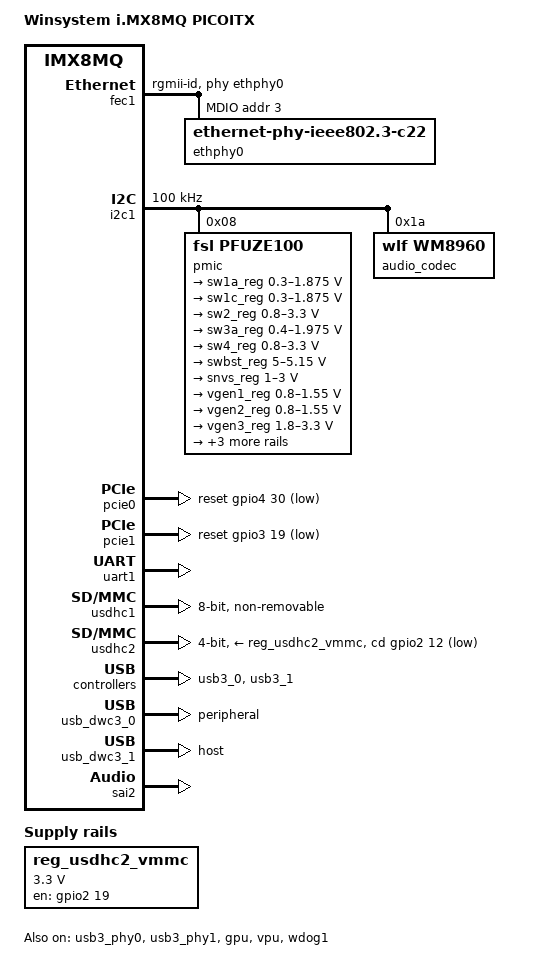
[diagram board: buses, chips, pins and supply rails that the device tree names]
/*
 * Copyright (C) 2016 Freescale Semiconductor, Inc.
 * Copyright 2017 NXP
 *
 * This program is free software; you can redistribute it and/or
 * modify it under the terms of the GNU General Public License
 * as published by the Free Software Foundation; either version 2
 * of the License, or (at your option) any later version.
 *
 * This program is distributed in the hope that it will be useful,
 * but WITHOUT ANY WARRANTY; without even the implied warranty of
 * MERCHANTABILITY or FITNESS FOR A PARTICULAR PURPOSE.  See the
 * GNU General Public License for more details.
 */

/dts-v1/;

/* First 128KB is for PSCI ATF. */
/memreserve/ 0x40000000 0x00020000;

#include "fsl-imx8mq.dtsi"

/ {
	model = "Winsystem i.MX8MQ PICOITX";
	compatible = "fsl,imx8mq";

	dbg_console_settings: chosen {
		bootargs = "console=ttymxc0,115200 earlycon=ec_imx6q,0x30860000,115200";
		stdout-path = &uart1;
	};

	regulators {
		compatible = "simple-bus";
		#address-cells = <1>;
		#size-cells = <0>;

		reg_usdhc2_vmmc: usdhc2_vmmc {
			compatible = "regulator-fixed";
			regulator-name = "VSD_3V3";
			regulator-min-microvolt = <3300000>;
			regulator-max-microvolt = <3300000>;
			gpio = <&gpio2 19 GPIO_ACTIVE_HIGH>;
			enable-active-high;
		};
	};

	sound_wm8960: sound-wm8960 {
		compatible = "fsl,imx-audio-wm8960";
		model = "wm8960-audio";
		cpu-dai = <&sai2>;
		audio-codec = <&audio_codec>;
		codec-master;
		audio-routing =
			"Headphone Jack", "HP_L",
			"Headphone Jack", "HP_R",
			"Ext Spk", "SPK_LP",
			"Ext Spk", "SPK_LN",
			"Ext Spk", "SPK_RP",
			"Ext Spk", "SPK_RN",
			"RINPUT3", "Mic Jack",
			"LINPUT3", "Mic Jack",
			"RINPUT2", "Main MIC",
			"LINPUT2", "Main MIC",
			"Mic Jack", "MICB",
			"Main MIC", "MICB";
	};
};

&iomuxc {
	pinctrl-names = "default";

	imx8mq-evk {
		pinctrl_pmic: pmicgrp {
			fsl,pins = <
				MX8MQ_IOMUXC_SAI1_MCLK_GPIO4_IO20	0x19
			>;
		};

		pinctrl_fec1: fec1grp {
			fsl,pins = <
				MX8MQ_IOMUXC_ENET_MDC_ENET1_MDC		0x3
				MX8MQ_IOMUXC_ENET_MDIO_ENET1_MDIO	0x23
				MX8MQ_IOMUXC_ENET_TD3_ENET1_RGMII_TD3	0x1f
				MX8MQ_IOMUXC_ENET_TD2_ENET1_RGMII_TD2	0x1f
				MX8MQ_IOMUXC_ENET_TD1_ENET1_RGMII_TD1	0x1f
				MX8MQ_IOMUXC_ENET_TD0_ENET1_RGMII_TD0	0x1f
				MX8MQ_IOMUXC_ENET_RD3_ENET1_RGMII_RD3	0x91
				MX8MQ_IOMUXC_ENET_RD2_ENET1_RGMII_RD2	0x91
				MX8MQ_IOMUXC_ENET_RD1_ENET1_RGMII_RD1	0x91
				MX8MQ_IOMUXC_ENET_RD0_ENET1_RGMII_RD0	0x91
				MX8MQ_IOMUXC_ENET_TXC_ENET1_RGMII_TXC	0x1f
				MX8MQ_IOMUXC_ENET_RXC_ENET1_RGMII_RXC	0x91
				MX8MQ_IOMUXC_ENET_RX_CTL_ENET1_RGMII_RX_CTL 0x91
				MX8MQ_IOMUXC_ENET_TX_CTL_ENET1_RGMII_TX_CTL 0x1f
				MX8MQ_IOMUXC_SAI1_RXFS_GPIO4_IO0	0x19
				MX8MQ_IOMUXC_SAI1_RXC_GPIO4_IO1		0x19
			>;
		};

		pinctrl_i2c1: i2c1grp {
			fsl,pins = <
				MX8MQ_IOMUXC_I2C1_SCL_I2C1_SCL	0x4000007f
				MX8MQ_IOMUXC_I2C1_SDA_I2C1_SDA	0x4000007f
			>;
		};

		pinctrl_i2c2: i2c2grp {
			fsl,pins = <
				MX8MQ_IOMUXC_I2C2_SCL_I2C2_SCL	0x4000007f
				MX8MQ_IOMUXC_I2C2_SDA_I2C2_SDA	0x4000007f
			>;
		};

		pinctrl_pcie0: pcie0grp {
			fsl,pins = <
				MX8MQ_IOMUXC_I2C4_SCL_GPIO5_IO20	0x16
				MX8MQ_IOMUXC_SAI3_RXC_GPIO4_IO29	0x16
				MX8MQ_IOMUXC_SAI3_RXD_GPIO4_IO30	0x16
				/* SMB_ALERT_N */
				MX8MQ_IOMUXC_SAI3_TXD_GPIO5_IO1		0x16
			>;
		};

		pinctrl_pcie1: pcie1grp {
			fsl,pins = <
				MX8MQ_IOMUXC_I2C4_SDA_GPIO5_IO21	0x16
				MX8MQ_IOMUXC_SAI3_TXC_GPIO5_IO0		0x16
				MX8MQ_IOMUXC_SAI5_RXFS_GPIO3_IO19	0x16
				/* MPCIE_WAKE */
				MX8MQ_IOMUXC_SAI1_TXFS_GPIO4_IO10	0x16
			>;
		};

		pinctrl_uart1: uart1grp {
			fsl,pins = <
				MX8MQ_IOMUXC_UART1_RXD_UART1_DCE_RX	0x49
				MX8MQ_IOMUXC_UART1_TXD_UART1_DCE_TX	0x49
			>;
		};

		pinctrl_serial2_gpio: serial2grpgpio {
			fsl,pins = <
				MX8MQ_IOMUXC_NAND_DATA07_GPIO3_IO13	0x59
				MX8MQ_IOMUXC_NAND_DATA06_GPIO3_IO12	0x19
				MX8MQ_IOMUXC_NAND_DATA05_GPIO3_IO11	0x19
				MX8MQ_IOMUXC_NAND_DATA04_GPIO3_IO10	0x19
				MX8MQ_IOMUXC_NAND_DATA03_GPIO3_IO9	0x19
				MX8MQ_IOMUXC_NAND_DATA02_GPIO3_IO8	0x19
				MX8MQ_IOMUXC_NAND_DATA01_GPIO3_IO7	0x19
			>;
		};

		pinctrl_usdhc1: usdhc1grp {
			fsl,pins = <
				MX8MQ_IOMUXC_SD1_CLK_USDHC1_CLK		0x83
				MX8MQ_IOMUXC_SD1_CMD_USDHC1_CMD		0xc3
				MX8MQ_IOMUXC_SD1_DATA0_USDHC1_DATA0	0xc3
				MX8MQ_IOMUXC_SD1_DATA1_USDHC1_DATA1	0xc3
				MX8MQ_IOMUXC_SD1_DATA2_USDHC1_DATA2	0xc3
				MX8MQ_IOMUXC_SD1_DATA3_USDHC1_DATA3	0xc3
				MX8MQ_IOMUXC_SD1_DATA4_USDHC1_DATA4	0xc3
				MX8MQ_IOMUXC_SD1_DATA5_USDHC1_DATA5	0xc3
				MX8MQ_IOMUXC_SD1_DATA6_USDHC1_DATA6	0xc3
				MX8MQ_IOMUXC_SD1_DATA7_USDHC1_DATA7	0xc3
				MX8MQ_IOMUXC_SD1_STROBE_USDHC1_STROBE	0x83
				MX8MQ_IOMUXC_SD1_RESET_B_USDHC1_RESET_B	0xc1
			>;
		};

		pinctrl_usdhc1_100mhz: usdhc1grp100mhz {
			fsl,pins = <
				MX8MQ_IOMUXC_SD1_CLK_USDHC1_CLK		0x85
				MX8MQ_IOMUXC_SD1_CMD_USDHC1_CMD		0xc5
				MX8MQ_IOMUXC_SD1_DATA0_USDHC1_DATA0	0xc5
				MX8MQ_IOMUXC_SD1_DATA1_USDHC1_DATA1	0xc5
				MX8MQ_IOMUXC_SD1_DATA2_USDHC1_DATA2	0xc5
				MX8MQ_IOMUXC_SD1_DATA3_USDHC1_DATA3	0xc5
				MX8MQ_IOMUXC_SD1_DATA4_USDHC1_DATA4	0xc5
				MX8MQ_IOMUXC_SD1_DATA5_USDHC1_DATA5	0xc5
				MX8MQ_IOMUXC_SD1_DATA6_USDHC1_DATA6	0xc5
				MX8MQ_IOMUXC_SD1_DATA7_USDHC1_DATA7	0xc5
				MX8MQ_IOMUXC_SD1_STROBE_USDHC1_STROBE	0x85
				MX8MQ_IOMUXC_SD1_RESET_B_USDHC1_RESET_B	0xc1
			>;
		};

		pinctrl_usdhc1_200mhz: usdhc1grp200mhz {
			fsl,pins = <
				MX8MQ_IOMUXC_SD1_CLK_USDHC1_CLK		0x87
				MX8MQ_IOMUXC_SD1_CMD_USDHC1_CMD		0xc7
				MX8MQ_IOMUXC_SD1_DATA0_USDHC1_DATA0	0xc7
				MX8MQ_IOMUXC_SD1_DATA1_USDHC1_DATA1	0xc7
				MX8MQ_IOMUXC_SD1_DATA2_USDHC1_DATA2	0xc7
				MX8MQ_IOMUXC_SD1_DATA3_USDHC1_DATA3	0xc7
				MX8MQ_IOMUXC_SD1_DATA4_USDHC1_DATA4	0xc7
				MX8MQ_IOMUXC_SD1_DATA5_USDHC1_DATA5	0xc7
				MX8MQ_IOMUXC_SD1_DATA6_USDHC1_DATA6	0xc7
				MX8MQ_IOMUXC_SD1_DATA7_USDHC1_DATA7	0xc7
				MX8MQ_IOMUXC_SD1_STROBE_USDHC1_STROBE	0x87
				MX8MQ_IOMUXC_SD1_RESET_B_USDHC1_RESET_B	0xc1
			>;
		};

		pinctrl_usdhc2_gpio: usdhc2grpgpio {
			fsl,pins = <
				MX8MQ_IOMUXC_SD2_CD_B_GPIO2_IO12	0x41
				MX8MQ_IOMUXC_SD2_RESET_B_GPIO2_IO19	0x41
			>;
		};

		pinctrl_usdhc2: usdhc2grp {
			fsl,pins = <
				MX8MQ_IOMUXC_SD2_CLK_USDHC2_CLK		0x83
				MX8MQ_IOMUXC_SD2_CMD_USDHC2_CMD		0xc3
				MX8MQ_IOMUXC_SD2_DATA0_USDHC2_DATA0	0xc3
				MX8MQ_IOMUXC_SD2_DATA1_USDHC2_DATA1	0xc3
				MX8MQ_IOMUXC_SD2_DATA2_USDHC2_DATA2	0xc3
				MX8MQ_IOMUXC_SD2_DATA3_USDHC2_DATA3	0xc3
				MX8MQ_IOMUXC_GPIO1_IO04_USDHC2_VSELECT	0xc1
			>;
		};

		pinctrl_usdhc2_100mhz: usdhc2grp100mhz {
			fsl,pins = <
				MX8MQ_IOMUXC_SD2_CLK_USDHC2_CLK		0x85
				MX8MQ_IOMUXC_SD2_CMD_USDHC2_CMD		0xc5
				MX8MQ_IOMUXC_SD2_DATA0_USDHC2_DATA0	0xc5
				MX8MQ_IOMUXC_SD2_DATA1_USDHC2_DATA1	0xc5
				MX8MQ_IOMUXC_SD2_DATA2_USDHC2_DATA2	0xc5
				MX8MQ_IOMUXC_SD2_DATA3_USDHC2_DATA3	0xc5
				MX8MQ_IOMUXC_GPIO1_IO04_USDHC2_VSELECT	0xc1
			>;
		};

		pinctrl_usdhc2_200mhz: usdhc2grp200mhz {
			fsl,pins = <
				MX8MQ_IOMUXC_SD2_CLK_USDHC2_CLK		0x87
				MX8MQ_IOMUXC_SD2_CMD_USDHC2_CMD		0xc7
				MX8MQ_IOMUXC_SD2_DATA0_USDHC2_DATA0	0xc7
				MX8MQ_IOMUXC_SD2_DATA1_USDHC2_DATA1	0xc7
				MX8MQ_IOMUXC_SD2_DATA2_USDHC2_DATA2	0xc7
				MX8MQ_IOMUXC_SD2_DATA3_USDHC2_DATA3	0xc7
				MX8MQ_IOMUXC_GPIO1_IO04_USDHC2_VSELECT	0xc1
			>;
		};

		pinctrl_sai2: sai2grp {
			fsl,pins = <
				MX8MQ_IOMUXC_SAI2_TXFS_SAI2_TX_SYNC	0xd6
				MX8MQ_IOMUXC_SAI2_TXC_SAI2_TX_BCLK	0xd6
				MX8MQ_IOMUXC_SAI2_MCLK_SAI2_MCLK	0xd6
				MX8MQ_IOMUXC_SAI2_TXD0_SAI2_TX_DATA0	0xd6
				MX8MQ_IOMUXC_SAI2_RXD0_SAI2_RX_DATA0	0xd6
				MX8MQ_IOMUXC_SAI2_RXFS_SAI2_RX_SYNC	0xd6
			>;
		};

		pinctrl_wdog: wdoggrp {
			fsl,pins = <
				MX8MQ_IOMUXC_GPIO1_IO02_WDOG1_WDOG_B 0xc6
			>;
		};
	};
};

&fec1 {
	pinctrl-names = "default";
	pinctrl-0 = <&pinctrl_fec1>;
	phy-mode = "rgmii-id";
	phy-handle = <&ethphy0>;
	fsl,magic-packet;
	status = "okay";

	mdio {
		#address-cells = <1>;
		#size-cells = <0>;

		ethphy0: ethernet-phy@3 {
			compatible = "ethernet-phy-ieee802.3-c22";
			reg = <3>;
		};
	};
};

&i2c1 {
	clock-frequency = <100000>;
	pinctrl-names = "default";
	pinctrl-0 = <&pinctrl_i2c1>;
	status = "okay";

	pmic: pfuze100@08 {
		compatible = "fsl,pfuze100";
		pinctrl-names = "default";
		pinctrl-0 = <&pinctrl_pmic>;
		reg = <0x08>;

		regulators {
			sw1a_reg: sw1ab {
				regulator-min-microvolt = <300000>;
				regulator-max-microvolt = <1875000>;
				regulator-always-on;
			};

			sw1c_reg: sw1c {
				regulator-min-microvolt = <300000>;
				regulator-max-microvolt = <1875000>;
				regulator-always-on;
			};

			sw2_reg: sw2 {
				regulator-min-microvolt = <800000>;
				regulator-max-microvolt = <3300000>;
				regulator-always-on;
			};

			sw3a_reg: sw3ab {
				regulator-min-microvolt = <400000>;
				regulator-max-microvolt = <1975000>;
				regulator-always-on;
			};

			sw4_reg: sw4 {
				regulator-min-microvolt = <800000>;
				regulator-max-microvolt = <3300000>;
				regulator-always-on;
			};

			swbst_reg: swbst {
				regulator-min-microvolt = <5000000>;
				regulator-max-microvolt = <5150000>;
			};

			snvs_reg: vsnvs {
				regulator-min-microvolt = <1000000>;
				regulator-max-microvolt = <3000000>;
				regulator-always-on;
			};

			vref_reg: vrefddr {
				regulator-always-on;
			};

			vgen1_reg: vgen1 {
				regulator-min-microvolt = <800000>;
				regulator-max-microvolt = <1550000>;
			};

			vgen2_reg: vgen2 {
				regulator-min-microvolt = <800000>;
				regulator-max-microvolt = <1550000>;
				regulator-always-on;
			};

			vgen3_reg: vgen3 {
				regulator-min-microvolt = <1800000>;
				regulator-max-microvolt = <3300000>;
				regulator-always-on;
			};

			vgen4_reg: vgen4 {
				regulator-min-microvolt = <1800000>;
				regulator-max-microvolt = <3300000>;
				regulator-always-on;
			};

			vgen5_reg: vgen5 {
				regulator-min-microvolt = <1800000>;
				regulator-max-microvolt = <3300000>;
				regulator-always-on;
			};

			vgen6_reg: vgen6 {
				regulator-min-microvolt = <1800000>;
				regulator-max-microvolt = <3300000>;
			};
		};
	};

	audio_codec: wm8960@1a {
		compatible = "wlf,wm8960";
		reg = <0x1a>;
		wlf,shared-lrclk;
		clocks = <&clk IMX8MQ_CLK_SAI2_ROOT>;
		clock-names = "mclk";
	};
};

&i2c2 {
	clock-frequency = <100000>;
	pinctrl-names = "default";
	pinctrl-0 = <&pinctrl_i2c2>;
	status = "disabled";
};

&pcie0{
	pinctrl-names = "default";
	pinctrl-0 = <&pinctrl_pcie0>;
	clkreq-gpio = <&gpio5 20 GPIO_ACTIVE_LOW>;
	disable-gpio = <&gpio4 29 GPIO_ACTIVE_LOW>;
	reset-gpio = <&gpio4 30 GPIO_ACTIVE_LOW>;
	ext_osc = <1>;
	hard-wired = <1>;
	status = "okay";
};

&pcie1{
	pinctrl-names = "default";
	pinctrl-0 = <&pinctrl_pcie1>;
	clkreq-gpio = <&gpio5 21 GPIO_ACTIVE_LOW>;
	disable-gpio = <&gpio5 0 GPIO_ACTIVE_LOW>;
	reset-gpio = <&gpio3 19 GPIO_ACTIVE_LOW>;
	ext_osc = <1>;
	status = "okay";
};

&uart1 {
	pinctrl-names = "default";
	pinctrl-0 = <&pinctrl_uart1>, <&pinctrl_serial2_gpio>;
	assigned-clocks = <&clk IMX8MQ_CLK_UART1_SRC>;
	assigned-clock-parents = <&clk IMX8MQ_CLK_25M>;
	uart-has-rtscts;
	status = "okay";
};

&usdhc1 {
	pinctrl-names = "default", "state_100mhz", "state_200mhz";
	pinctrl-0 = <&pinctrl_usdhc1>;
	pinctrl-1 = <&pinctrl_usdhc1_100mhz>;
	pinctrl-2 = <&pinctrl_usdhc1_200mhz>;
	bus-width = <8>;
	non-removable;
	status = "okay";
};

&usdhc2 {
	pinctrl-names = "default", "state_100mhz", "state_200mhz";
	pinctrl-0 = <&pinctrl_usdhc2>, <&pinctrl_usdhc2_gpio>;
	pinctrl-1 = <&pinctrl_usdhc2_100mhz>, <&pinctrl_usdhc2_gpio>;
	pinctrl-2 = <&pinctrl_usdhc2_200mhz>, <&pinctrl_usdhc2_gpio>;
	bus-width = <4>;
	cd-gpios = <&gpio2 12 GPIO_ACTIVE_LOW>;
	vmmc-supply = <&reg_usdhc2_vmmc>;
	status = "okay";
};

&usb3_phy0 {
	status = "okay";
};

&usb3_0 {
	status = "okay";
};

&usb_dwc3_0 {
	status = "okay";
	dr_mode = "peripheral";
};

&usb3_phy1 {
	status = "okay";
};

&usb3_1 {
	status = "okay";
};

&usb_dwc3_1 {
	status = "okay";
	dr_mode = "host";
};

&sai2 {
	pinctrl-names = "default";
	pinctrl-0 = <&pinctrl_sai2>;
	assigned-clocks = <&clk IMX8MQ_CLK_SAI2_SRC>,
			<&clk IMX8MQ_AUDIO_PLL1>,
			<&clk IMX8MQ_CLK_SAI2_PRE_DIV>,
			<&clk IMX8MQ_CLK_SAI2_DIV>;
	assigned-clock-parents = <&clk IMX8MQ_AUDIO_PLL1_OUT>;
	assigned-clock-rates = <0>, <786432000>, <98306000>, <24576000>;
	status = "okay";
};

&gpu {
	status = "okay";
};

&vpu {
	status = "okay";
};

&wdog1 {
	pinctrl-names = "default";
	pinctrl-0 = <&pinctrl_wdog>;
	fsl,ext-reset-output;
	status = "okay";
};
